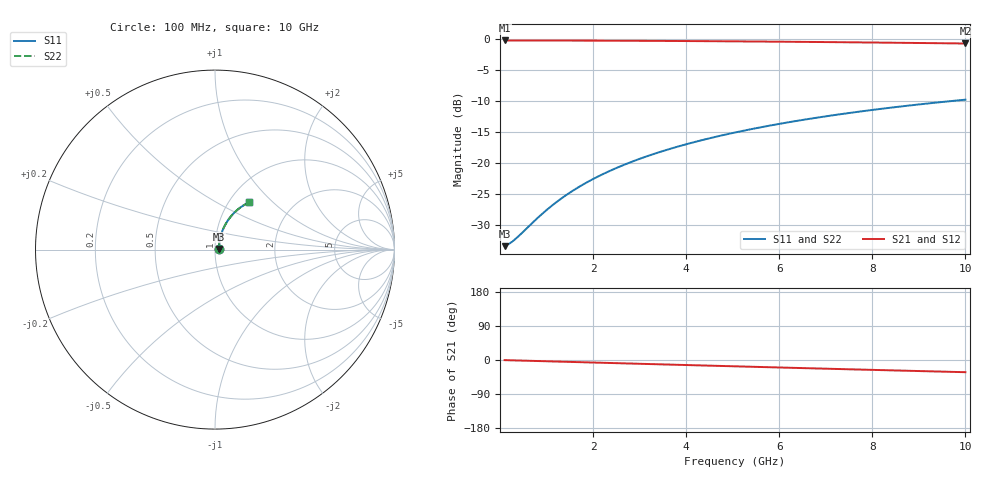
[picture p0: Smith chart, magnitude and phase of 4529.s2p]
# Hz S RI R 50.00
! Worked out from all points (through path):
!   100 points, 100 MHz to 10 GHz, reference 50 ohm
!   highest |S21| = -0.18 dB at 100 MHz (marker M1); lowest = -0.7 dB at 10 GHz (marker M2)
!   group delay of S21, straight-line fit = 8.96 ps
!   lowest |S11| = -33.5 dB at 100 MHz (marker M3), VSWR 1.04, Z = 52.1 + j0.357 ohm
!   |S11| at or under -10 dB: start of sweep to 9.697 GHz
!   |S22| runs from -33.5 to -9.8 dB; largest |S21 - S12| = 0
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1e8  0.0208 0.00343  0.9792 -0.0057  0.9792 -0.0057  0.0208 0.00343
2e8  0.021 0.00685  0.9789 -0.0114  0.9789 -0.0114  0.021 0.00685
3e8  0.0212 0.0103  0.9787 -0.0171  0.9787 -0.0171  0.0212 0.0103
4e8  0.0215 0.0137  0.9785 -0.0228  0.9785 -0.0228  0.0215 0.0137
9e8  0.023 0.0307  0.9767 -0.0512  0.9767 -0.0512  0.023 0.0307
1.2e9  0.0244 0.0409  0.9752 -0.0682  0.9752 -0.0682  0.0244 0.0409
1.5e9  0.0261 0.051  0.9733 -0.0851  0.9733 -0.0851  0.0261 0.051
1.8e9  0.0281 0.061  0.971 -0.102  0.971 -0.102  0.0281 0.061
2.1e9  0.0305 0.0709  0.9683 -0.1188  0.9683 -0.1188  0.0305 0.0709
2.5e9  0.0342 0.084  0.9641 -0.141  0.9641 -0.141  0.0342 0.084
2.9e9  0.0385 0.0968  0.9592 -0.1629  0.9592 -0.1629  0.0385 0.0968
3.4e9  0.0447 0.1126  0.9522 -0.1901  0.9522 -0.1901  0.0447 0.1126
3.8e9  0.0502 0.1248  0.9459 -0.2115  0.9459 -0.2115  0.0502 0.1248
4.2e9  0.0563 0.1368  0.939 -0.2326  0.939 -0.2326  0.0563 0.1368
4.6e9  0.0629 0.1484  0.9315 -0.2534  0.9315 -0.2534  0.0629 0.1484
5.1e9  0.0718 0.1624  0.9212 -0.2789  0.9212 -0.2789  0.0718 0.1624
5.9e9  0.0876 0.1836  0.9031 -0.3184  0.9031 -0.3184  0.0876 0.1836
6.7e9  0.105 0.203  0.883 -0.3562  0.883 -0.3562  0.105 0.203
7.5e9  0.1239 0.2207  0.861 -0.3923  0.861 -0.3923  0.1239 0.2207
8.4e9  0.1466 0.2382  0.8344 -0.4306  0.8344 -0.4306  0.1466 0.2382
9.2e9  0.1678 0.2517  0.8093 -0.4626  0.8093 -0.4626  0.1678 0.2517
1e10  0.1898 0.2631  0.7831 -0.4927  0.7831 -0.4927  0.1898 0.2631
